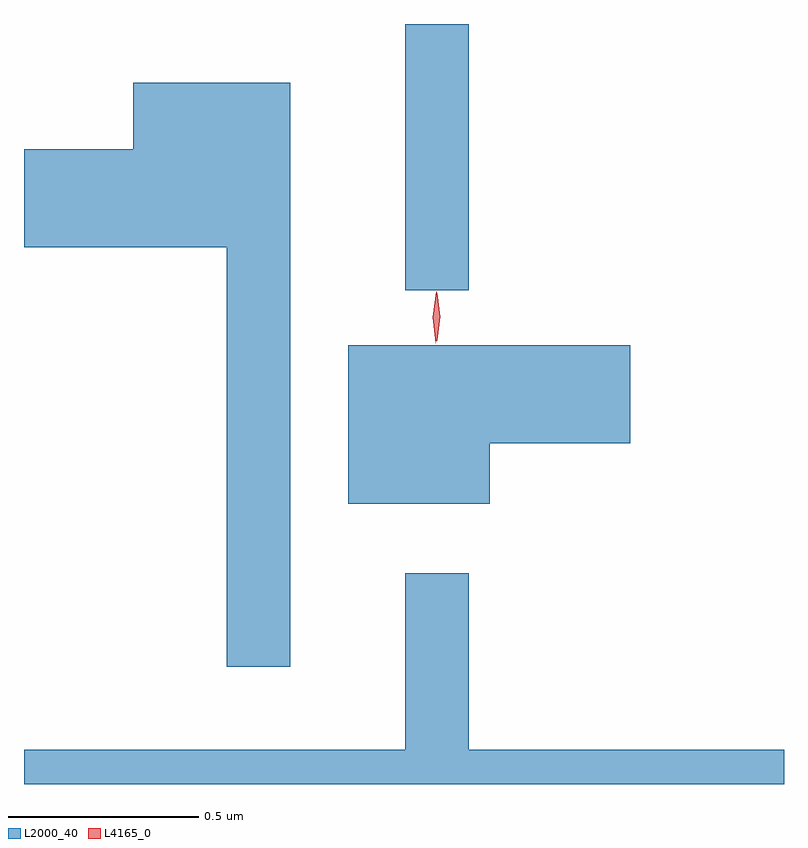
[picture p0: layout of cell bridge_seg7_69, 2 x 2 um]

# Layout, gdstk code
import gdstk
lib = gdstk.Library(unit=1e-6, precision=1e-09)
def R(c, l, rs):  # rectangles x0, y0, x1, y1
    for r in rs: c.add(gdstk.rectangle(r[:2], r[2:], *l))
def P(c, l, *ps):  # polygons
    for p in ps: c.add(gdstk.Polygon(p, *l))
L2000_40 = (2000, 40)
L4165_0 = (4165, 0)

bridge_seg7_69 = lib.new_cell('bridge_seg7_69')
R(bridge_seg7_69, L2000_40, [(1589.081,1749.093,1589.249,1749.794)])
P(bridge_seg7_69, L2000_40, [(1588.779,1749.639),(1588.366,1749.639),(1588.366,1749.464),(1588.078,1749.464),(1588.078,1749.206),(1588.611,1749.206),(1588.611,1748.103),(1588.779,1748.103)],
  [(1589.304,1748.691),(1589.674,1748.691),(1589.674,1748.949),(1588.931,1748.949),(1588.931,1748.531),(1589.304,1748.531)],
  [(1590.078,1747.884),(1589.249,1747.884),(1589.249,1748.348),(1589.081,1748.348),(1589.081,1747.884),(1588.078,1747.884),(1588.078,1747.794),(1590.078,1747.794)])
P(bridge_seg7_69, L4165_0, [(1589.164,1748.96),(1589.164,1748.96),(1589.154,1749.023),(1589.164,1749.086),(1589.164,1749.087),(1589.165,1749.086),(1589.174,1749.023),(1589.165,1748.96)],
  [(1589.161,1748.954),(1589.153,1749.022),(1589.163,1749.09),(1589.164,1749.09),(1589.164,1749.09),(1589.172,1749.022),(1589.162,1748.954),(1589.162,1748.954)])

lib.write_gds('bridge_seg7_69.gds')
